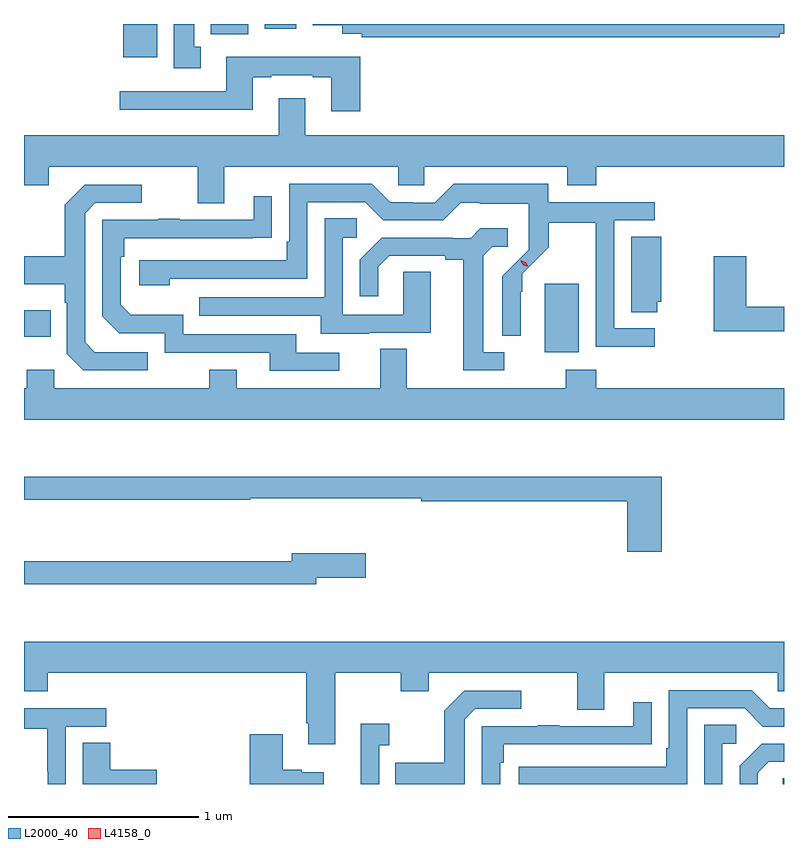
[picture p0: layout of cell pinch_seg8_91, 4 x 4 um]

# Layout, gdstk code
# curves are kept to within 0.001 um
import gdstk
lib = gdstk.Library(unit=1e-6, precision=1e-09)
def R(c, l, rs):  # rectangles x0, y0, x1, y1
    for r in rs: c.add(gdstk.rectangle(r[:2], r[2:], *l))
def P(c, l, *ps):  # polygons
    for p in ps: c.add(gdstk.Polygon(p, *l))
L2000_40 = (2000, 40)
L4158_0 = (4158, 0)

pinch_seg8_91 = lib.new_cell('pinch_seg8_91')
R(pinch_seg8_91, L2000_40, [(1085.454,1099.93,1085.46,1099.961), (1084.202,1102.202,1084.381,1102.564), (1081.46,1102.283,1081.601,1102.423), (1081.982,1103.756,1082.161,1103.93), (1082.444,1103.876,1082.641,1103.93), (1082.726,1103.904,1082.893,1103.93)])
P(pinch_seg8_91, L2000_40, [(1085.438,1103.88),(1085.46,1103.88),(1085.46,1103.93),(1082.981,1103.93),(1082.981,1103.924),(1083.135,1103.924),(1083.135,1103.88),(1083.238,1103.88),(1083.238,1103.86),(1085.438,1103.86)],
  [(1082.389,1103.81),(1082.356,1103.81),(1082.356,1103.93),(1082.249,1103.93),(1082.249,1103.697),(1082.389,1103.697)],
  [(1083.23,1103.758),(1082.525,1103.758),(1082.525,1103.577),(1081.965,1103.577),(1081.965,1103.48),(1082.665,1103.48),(1082.665,1103.649),(1082.761,1103.649),(1082.761,1103.661),(1082.981,1103.661),(1082.981,1103.649),(1083.077,1103.649),(1083.077,1103.472),(1083.23,1103.472)],
  [(1082.941,1103.539),(1082.801,1103.539),(1082.801,1103.344),(1081.46,1103.344),(1081.46,1103.081),(1081.591,1103.081),(1081.591,1103.18),(1082.375,1103.18),(1082.375,1102.986),(1082.515,1102.986),(1082.515,1103.18),(1083.429,1103.18),(1083.429,1103.082),(1083.567,1103.082),(1083.567,1103.18),(1084.319,1103.18),(1084.319,1103.081),(1084.472,1103.081),(1084.472,1103.18),(1085.46,1103.18),(1085.46,1103.344),(1082.941,1103.344)],
  [(1084.78,1102.329),(1084.566,1102.329),(1084.566,1102.896),(1084.78,1102.896),(1084.78,1102.992),(1084.218,1102.992),(1084.218,1103.089),(1083.721,1103.089),(1083.621,1102.989),(1083.506,1102.989),(1083.506,1102.992),(1083.387,1102.992),(1083.291,1103.088),(1082.856,1103.088),(1082.856,1102.783),(1082.843,1102.783),(1082.843,1102.686),(1082.067,1102.686),(1082.067,1102.556),(1082.228,1102.556),(1082.228,1102.59),(1082.952,1102.59),(1082.952,1102.992),(1083.255,1102.992),(1083.351,1102.896),(1083.666,1102.896),(1083.759,1102.989),(1083.859,1102.989),(1083.859,1102.985),(1084.117,1102.985),(1084.117,1102.741),(1083.978,1102.602),(1083.978,1102.288),(1084.074,1102.288),(1084.074,1102.52),(1084.083,1102.52),(1084.083,1102.615),(1084.223,1102.755),(1084.223,1102.884),(1084.468,1102.884),(1084.468,1102.66),(1084.47,1102.66),(1084.47,1102.231),(1084.78,1102.231)],
  [(1082.11,1102.203),(1081.833,1102.203),(1081.782,1102.254),(1081.782,1102.935),(1081.836,1102.989),(1082.08,1102.989),(1082.08,1103.085),(1081.779,1103.085),(1081.674,1102.979),(1081.674,1102.707),(1081.46,1102.707),(1081.46,1102.559),(1081.674,1102.559),(1081.674,1102.463),(1081.686,1102.463),(1081.686,1102.194),(1081.773,1102.107),(1082.11,1102.107)],
  [(1083.118,1102.2),(1082.893,1102.2),(1082.893,1102.296),(1082.298,1102.296),(1082.298,1102.399),(1082.021,1102.399),(1081.968,1102.452),(1081.968,1102.706),(1081.988,1102.706),(1081.988,1102.803),(1082.765,1102.804),(1082.765,1103.023),(1082.669,1103.023),(1082.669,1102.899),(1082.279,1102.899),(1082.279,1102.904),(1082.167,1102.904),(1082.167,1102.899),(1081.872,1102.899),(1081.872,1102.392),(1081.962,1102.302),(1082.202,1102.302),(1082.202,1102.2),(1082.753,1102.2),(1082.753,1102.104),(1083.118,1102.104)],
  [(1083.277,1102.305),(1083.601,1102.305),(1083.601,1102.625),(1083.456,1102.625),(1083.456,1102.401),(1083.138,1102.401),(1083.138,1102.806),(1083.211,1102.806),(1083.211,1102.907),(1083.042,1102.907),(1083.042,1102.491),(1082.383,1102.491),(1082.383,1102.395),(1083.023,1102.395),(1083.023,1102.301),(1083.277,1102.301)],
  [(1083.988,1102.203),(1083.877,1102.203),(1083.877,1102.711),(1083.924,1102.758),(1084.006,1102.758),(1084.006,1102.855),(1083.862,1102.855),(1083.81,1102.803),(1083.716,1102.803),(1083.716,1102.806),(1083.344,1102.806),(1083.228,1102.69),(1083.228,1102.497),(1083.325,1102.497),(1083.325,1102.653),(1083.382,1102.71),(1083.677,1102.71),(1083.677,1102.688),(1083.773,1102.688),(1083.773,1102.107),(1083.988,1102.107)],
  [(1084.794,1102.467),(1084.813,1102.467),(1084.813,1102.811),(1084.655,1102.811),(1084.655,1102.414),(1084.794,1102.414)],
  [(1085.46,1102.442),(1085.261,1102.442),(1085.261,1102.708),(1085.09,1102.708),(1085.09,1102.314),(1085.46,1102.314)],
  [(1085.46,1102.012),(1084.472,1102.012),(1084.472,1102.111),(1084.312,1102.111),(1084.312,1102.012),(1083.475,1102.012),(1083.475,1102.22),(1083.335,1102.22),(1083.335,1102.012),(1082.581,1102.012),(1082.581,1102.111),(1082.434,1102.111),(1082.434,1102.012),(1081.62,1102.012),(1081.62,1102.111),(1081.474,1102.111),(1081.474,1102.012),(1081.46,1102.012),(1081.46,1101.848),(1085.46,1101.848)],
  [(1084.817,1101.547),(1081.46,1101.547),(1081.46,1101.426),(1082.65,1101.426),(1082.65,1101.433),(1083.55,1101.433),(1083.55,1101.418),(1084.634,1101.418),(1084.634,1101.153),(1084.817,1101.153)],
  [(1082.998,1101.016),(1083.259,1101.016),(1083.259,1101.145),(1082.87,1101.145),(1082.87,1101.103),(1081.46,1101.103),(1081.46,1100.982),(1082.998,1100.982)],
  [(1083.097,1100.516),(1083.442,1100.516),(1083.442,1100.417),(1083.589,1100.417),(1083.589,1100.516),(1084.373,1100.516),(1084.373,1100.322),(1084.513,1100.322),(1084.513,1100.516),(1085.427,1100.516),(1085.427,1100.418),(1085.46,1100.418),(1085.46,1100.68),(1081.46,1100.68),(1081.46,1100.417),(1081.586,1100.417),(1081.586,1100.516),(1082.945,1100.516),(1082.945,1100.251),(1082.957,1100.251),(1082.957,1100.139),(1083.097,1100.139)],
  [(1084.95,1100.328),(1085.253,1100.328),(1085.349,1100.232),(1085.46,1100.232),(1085.46,1100.328),(1085.385,1100.328),(1085.289,1100.424),(1084.854,1100.424),(1084.854,1100.119),(1084.841,1100.119),(1084.841,1100.022),(1084.065,1100.022),(1084.065,1099.93),(1084.95,1099.93)],
  [(1083.78,1100.271),(1083.834,1100.325),(1084.078,1100.325),(1084.078,1100.421),(1083.777,1100.421),(1083.672,1100.315),(1083.672,1100.043),(1083.415,1100.043),(1083.415,1099.93),(1083.78,1099.93)],
  [(1083.966,1100.042),(1083.986,1100.042),(1083.986,1100.139),(1084.661,1100.139),(1084.661,1100.14),(1084.763,1100.14),(1084.763,1100.359),(1084.667,1100.359),(1084.667,1100.235),(1084.277,1100.235),(1084.277,1100.24),(1084.165,1100.24),(1084.165,1100.235),(1083.87,1100.235),(1083.87,1099.93),(1083.966,1099.93)],
  [(1081.68,1100.232),(1081.894,1100.232),(1081.894,1100.328),(1081.46,1100.328),(1081.46,1100.22),(1081.582,1100.22),(1081.582,1099.996),(1081.584,1099.996),(1081.584,1099.93),(1081.68,1099.93)],
  [(1083.33,1100.135),(1083.382,1100.135),(1083.382,1100.248),(1083.233,1100.248),(1083.233,1099.93),(1083.33,1099.93)],
  [(1085.136,1100.142),(1085.209,1100.142),(1085.209,1100.243),(1085.04,1100.243),(1085.04,1099.93),(1085.136,1099.93)],
  [(1083.037,1099.993),(1082.921,1099.993),(1082.921,1100.006),(1082.821,1100.006),(1082.821,1100.191),(1082.648,1100.191),(1082.648,1099.93),(1083.037,1099.93)],
  [(1082.158,1100.006),(1081.913,1100.006),(1081.913,1100.147),(1081.769,1100.147),(1081.769,1099.93),(1082.158,1099.93)],
  [(1085.323,1099.989),(1085.38,1100.046),(1085.46,1100.046),(1085.46,1100.142),(1085.342,1100.142),(1085.226,1100.026),(1085.226,1099.93),(1085.323,1099.93)])
P(pinch_seg8_91, L4158_0, [(1084.115,1102.652),(1084.088,1102.661),(1084.073,1102.686),(1084.073,1102.686),(1084.073,1102.686),(1084.1,1102.677),(1084.115,1102.652),(1084.115,1102.652)])

lib.write_gds('pinch_seg8_91.gds')
